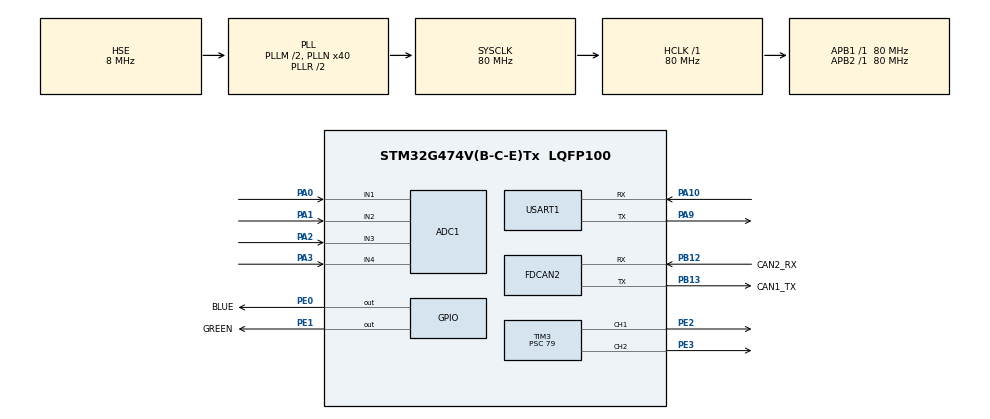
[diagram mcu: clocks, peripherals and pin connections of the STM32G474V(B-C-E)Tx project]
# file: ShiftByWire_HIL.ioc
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ADC1.Channel-1\#ChannelRegularConversion=ADC_CHANNEL_1
ADC1.Channel-5\#ChannelRegularConversion=ADC_CHANNEL_2
ADC1.Channel-6\#ChannelRegularConversion=ADC_CHANNEL_3
ADC1.Channel-7\#ChannelRegularConversion=ADC_CHANNEL_4
ADC1.ClockPrescaler=ADC_CLOCK_SYNC_PCLK_DIV4
ADC1.ContinuousConvMode=ENABLE
ADC1.DMAContinuousRequests=ENABLE
ADC1.NbrOfConversion=4
ADC1.NbrOfConversionFlag=1
ADC1.OffsetNumber-1\#ChannelRegularConversion=ADC_OFFSET_NONE
ADC1.OffsetNumber-5\#ChannelRegularConversion=ADC_OFFSET_NONE
ADC1.OffsetNumber-6\#ChannelRegularConversion=ADC_OFFSET_NONE
ADC1.OffsetNumber-7\#ChannelRegularConversion=ADC_OFFSET_NONE
ADC1.Rank-1\#ChannelRegularConversion=1
ADC1.Rank-5\#ChannelRegularConversion=2
ADC1.Rank-6\#ChannelRegularConversion=3
ADC1.Rank-7\#ChannelRegularConversion=4
ADC1.SamplingTime-1\#ChannelRegularConversion=ADC_SAMPLETIME_92CYCLES_5
ADC1.SamplingTime-5\#ChannelRegularConversion=ADC_SAMPLETIME_92CYCLES_5
ADC1.SamplingTime-6\#ChannelRegularConversion=ADC_SAMPLETIME_92CYCLES_5
ADC1.SamplingTime-7\#ChannelRegularConversion=ADC_SAMPLETIME_92CYCLES_5
ADC1.master=1
Dma.ADC1.0.Direction=DMA_PERIPH_TO_MEMORY
Dma.ADC1.0.EventEnable=DISABLE
Dma.ADC1.0.Instance=DMA1_Channel1
Dma.ADC1.0.MemDataAlignment=DMA_MDATAALIGN_HALFWORD
Dma.ADC1.0.MemInc=DMA_MINC_ENABLE
Dma.ADC1.0.Mode=DMA_CIRCULAR
Dma.ADC1.0.PeriphDataAlignment=DMA_PDATAALIGN_HALFWORD
Dma.ADC1.0.PeriphInc=DMA_PINC_DISABLE
Dma.ADC1.0.Polarity=HAL_DMAMUX_REQ_GEN_RISING
Dma.ADC1.0.Priority=DMA_PRIORITY_LOW
Dma.ADC1.0.RequestNumber=1
Dma.ADC1.0.SignalID=NONE
Dma.ADC1.0.SyncEnable=DISABLE
Dma.ADC1.0.SyncPolarity=HAL_DMAMUX_SYNC_NO_EVENT
Dma.ADC1.0.SyncRequestNumber=1
Dma.ADC1.0.SyncSignalID=NONE
Dma.Request0=ADC1
FDCAN2.CalculateBaudRateNominal=500000
FDCAN2.CalculateTimeBitNominal=2000
FDCAN2.CalculateTimeQuantumNominal=100.0
FDCAN2.DataPrescaler=8
FDCAN2.DataSyncJumpWidth=4
FDCAN2.DataTimeSeg1=15
FDCAN2.DataTimeSeg2=4
FDCAN2.ExtFiltersNbr=8
FDCAN2.NominalPrescaler=8
FDCAN2.NominalSyncJumpWidth=4
FDCAN2.NominalTimeSeg1=15
FDCAN2.NominalTimeSeg2=4
FDCAN2.StdFiltersNbr=8
FREERTOS.Tasks01=defaultTask,24,128,StartDefaultTask,Default,NULL,Dynamic,NULL,NULL
FREERTOS.configTOTAL_HEAP_SIZE=4096
IWDG.Prescaler=IWDG_PRESCALER_64
IWDG.Reload=3125
Mcu.Family=STM32G4
Mcu.Name=STM32G474V(B-C-E)Tx
Mcu.Package=LQFP100
NVIC.DMA1_Channel1_IRQn=true\:5\:0\:false\:false\:true\:true\:false\:true\:true
NVIC.FDCAN2_IT0_IRQn=true\:5\:0\:false\:false\:true\:true\:true\:true\:true
NVIC.PriorityGroup=NVIC_PRIORITYGROUP_4
NVIC.TIM2_IRQn=true\:15\:0\:false\:false\:true\:false\:false\:true\:true
NVIC.TimeBase=TIM2_IRQn
NVIC.TimeBaseIP=TIM2
PA0.Mode=IN1-Single-Ended
PA0.Signal=ADC1_IN1
PA1.Mode=IN2-Single-Ended
PA1.Signal=ADC1_IN2
PA10.Mode=Asynchronous
PA10.Signal=USART1_RX
PA13.Mode=Serial_Wire
PA13.Signal=SYS_JTMS-SWDIO
PA14.Mode=Serial_Wire
PA14.Signal=SYS_JTCK-SWCLK
PA2.Mode=IN3-Single-Ended
PA2.Signal=ADC1_IN3
PA3.Mode=IN4-Single-Ended
PA3.Signal=ADC1_IN4
PA9.Mode=Asynchronous
PA9.Signal=USART1_TX
PB12.GPIO_Label=CAN2_RX
PB12.GPIO_PuPd=GPIO_PULLUP
PB12.GPIO_Speed=GPIO_SPEED_FREQ_HIGH
PB12.Mode=FDCAN_Activate
PB12.Signal=FDCAN2_RX
PB13.GPIO_Label=CAN1_TX
PB13.GPIO_PuPd=GPIO_PULLUP
PB13.GPIO_Speed=GPIO_SPEED_FREQ_HIGH
PB13.Mode=FDCAN_Activate
PB13.Signal=FDCAN2_TX
PE0.GPIO_Label=BLUE
PE0.PinState=GPIO_PIN_SET
PE0.Signal=GPIO_Output
PE1.GPIO_Label=GREEN
PE1.PinState=GPIO_PIN_SET
PE1.Signal=GPIO_Output
PE2.Signal=S_TIM3_CH1
PE3.Signal=S_TIM3_CH2
PF0-OSC_IN.Mode=HSE-External-Oscillator
PF0-OSC_IN.Signal=RCC_OSC_IN
PF1-OSC_OUT.Mode=HSE-External-Oscillator
PF1-OSC_OUT.Signal=RCC_OSC_OUT
ProjectManager.HeapSize=0x1000
ProjectManager.StackSize=0x800
ProjectManager.TargetToolchain=MDK-ARM V5.32
RCC.ADC12Freq_Value=80000000
RCC.ADC345Freq_Value=80000000
RCC.AHBFreq_Value=80000000
RCC.APB1Freq_Value=80000000
RCC.APB1TimFreq_Value=80000000
RCC.APB2Freq_Value=80000000
RCC.APB2TimFreq_Value=80000000
RCC.CortexFreq_Value=80000000
RCC.EXTERNAL_CLOCK_VALUE=12288000
RCC.HCLKFreq_Value=80000000
RCC.HSE_VALUE=8000000
RCC.HSI48_VALUE=48000000
RCC.HSI_VALUE=16000000
RCC.LSE_VALUE=32768
RCC.PLLM=RCC_PLLM_DIV2
RCC.PLLN=40
RCC.PLLSourceVirtual=RCC_PLLSOURCE_HSE
RCC.SYSCLKFreq_VALUE=80000000
RCC.SYSCLKSource=RCC_SYSCLKSOURCE_PLLCLK
RCC.USBFreq_Value=80000000
RCC.VCOOutputFreq_Value=160000000
SH.S_TIM3_CH1.0=TIM3_CH1,PWM Generation1 CH1
SH.S_TIM3_CH2.0=TIM3_CH2,PWM Generation2 CH2
TIM3.AutoReloadPreload=TIM_AUTORELOAD_PRELOAD_ENABLE
TIM3.Channel-PWM\ Generation1\ CH1=TIM_CHANNEL_1
TIM3.Channel-PWM\ Generation2\ CH2=TIM_CHANNEL_2
TIM3.PeriodNoDither=19999
TIM3.Prescaler=79
TIM3.PulseNoDither_1=1500
USART1.VirtualMode-Asynchronous=VM_ASYNC
VP_FREERTOS_VS_CMSIS_V2.Mode=CMSIS_V2
VP_IWDG_VS_IWDG.Mode=IWDG_Activate
VP_SYS_VS_DBSignals.Mode=DisableDeadBatterySignals
VP_SYS_VS_tim2.Mode=TIM2
VP_TIM3_VS_ClockSourceINT.Mode=Internal
board=custom

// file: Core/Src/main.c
/* USER CODE BEGIN Header */
/**
  ******************************************************************************
  * @file           : main.c
  * @brief          : Main program body
  ******************************************************************************
  * @attention
  *
  * Copyright (c) 2026 STMicroelectronics.
  * All rights reserved.
  *
  * This software is licensed under terms that can be found in the LICENSE file
  * in the root directory of this software component.
  * If no LICENSE file comes with this software, it is provided AS-IS.
  *
  ******************************************************************************
  */
/* USER CODE END Header */
#include "main.h"
#include "cmsis_os.h"
#include "adc.h"
#include "dma.h"
#include "fdcan.h"
#include "iwdg.h"
#include "tim.h"
#include "usart.h"
#include "gpio.h"

/* USER CODE BEGIN PV */
volatile uint8_t g_target_gear = 2;     /* default N */
volatile uint8_t g_actual_gear = 2;
volatile uint8_t g_servo_angle = 90;
volatile uint8_t g_status = 0;
volatile uint32_t g_can_rx_tick = 0;
volatile uint8_t  g_vehicle_speed = 0;   /* 来自 0x180 B4：车速 km/h */
volatile uint8_t  g_shift_inhibit = 0;   /* 1 = 拒绝 P/R 指令（对端在行驶中重启过，锁定） */
volatile uint16_t g_adc_buffer[4];
/* USER CODE END PV */

void SystemClock_Config(void);
void MX_FREERTOS_Init(void);

int main(void)
{

  /* MCU Configuration--------------------------------------------------------*/

  /* Reset of all peripherals, Initializes the Flash interface and the Systick. */
  HAL_Init();

  /* Configure the system clock */
  SystemClock_Config();

  /* Initialize all configured peripherals */
  MX_GPIO_Init();
  MX_DMA_Init();
  MX_ADC1_Init();
  MX_IWDG_Init();
  MX_TIM3_Init();
  MX_USART1_UART_Init();
  MX_FDCAN2_Init();
  /* USER CODE BEGIN 2 */
  HAL_TIM_PWM_Start(&htim3, TIM_CHANNEL_1);   /* 舵机：TIM3_CH1 → PE2，50Hz */
  Motor_Init();                               /* 电机：先输出最小油门 1000us 再开 CH2，等电调解锁 */
  HAL_ADC_Start_DMA(&hadc1, (uint32_t *)g_adc_buffer, 4);
  /* USER CODE END 2 */

  /* Init scheduler */
  osKernelInitialize();  /* Call init function for freertos objects (in cmsis_os2.c) */
  MX_FREERTOS_Init();

  /* Start scheduler */
  osKernelStart();

  /* We should never get here as control is now taken by the scheduler */

  /* Infinite loop */
  while (1)
  {

  }
}

void SystemClock_Config(void)
{
  RCC_OscInitTypeDef RCC_OscInitStruct = {0};
  RCC_ClkInitTypeDef RCC_ClkInitStruct = {0};

  /** Configure the main internal regulator output voltage
  */
  HAL_PWREx_ControlVoltageScaling(PWR_REGULATOR_VOLTAGE_SCALE1);

  /** Initializes the RCC Oscillators according to the specified parameters
  * in the RCC_OscInitTypeDef structure.
  */
  RCC_OscInitStruct.OscillatorType = RCC_OSCILLATORTYPE_LSI|RCC_OSCILLATORTYPE_HSE;
  RCC_OscInitStruct.HSEState = RCC_HSE_ON;
  RCC_OscInitStruct.LSIState = RCC_LSI_ON;
  RCC_OscInitStruct.PLL.PLLState = RCC_PLL_ON;
  RCC_OscInitStruct.PLL.PLLSource = RCC_PLLSOURCE_HSE;
  RCC_OscInitStruct.PLL.PLLM = RCC_PLLM_DIV2;
  RCC_OscInitStruct.PLL.PLLN = 40;
  RCC_OscInitStruct.PLL.PLLP = RCC_PLLP_DIV2;
  RCC_OscInitStruct.PLL.PLLQ = RCC_PLLQ_DIV2;
  RCC_OscInitStruct.PLL.PLLR = RCC_PLLR_DIV2;
  if (HAL_RCC_OscConfig(&RCC_OscInitStruct) != HAL_OK)
  {
    Error_Handler();
  }

  /** Initializes the CPU, AHB and APB buses clocks
  */
  RCC_ClkInitStruct.ClockType = RCC_CLOCKTYPE_HCLK|RCC_CLOCKTYPE_SYSCLK
                              |RCC_CLOCKTYPE_PCLK1|RCC_CLOCKTYPE_PCLK2;
  RCC_ClkInitStruct.SYSCLKSource = RCC_SYSCLKSOURCE_PLLCLK;
  RCC_ClkInitStruct.AHBCLKDivider = RCC_SYSCLK_DIV1;
  RCC_ClkInitStruct.APB1CLKDivider = RCC_HCLK_DIV1;
  RCC_ClkInitStruct.APB2CLKDivider = RCC_HCLK_DIV1;

  if (HAL_RCC_ClockConfig(&RCC_ClkInitStruct, FLASH_LATENCY_2) != HAL_OK)
  {
    Error_Handler();
  }
}

void HAL_TIM_PeriodElapsedCallback(TIM_HandleTypeDef *htim)
{
  if (htim->Instance == TIM2)
  {
    HAL_IncTick();
  }
}

void Error_Handler(void)
{
  __disable_irq();
  while (1)
  {
  }
}

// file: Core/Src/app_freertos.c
/* USER CODE BEGIN Header */
/**
  ******************************************************************************
  * File Name          : app_freertos.c
  * Description        : 线控换挡执行侧 FreeRTOS 任务
  *                      0x180 收目标档 → 舵机摆到对应角度 → 0x280 回传实际档
  ******************************************************************************
  * @attention
  *
  * Copyright (c) 2026 STMicroelectronics.
  * All rights reserved.
  *
  * This software is licensed under terms that can be found in the LICENSE file
  * in the root directory of this software component.
  * If no LICENSE file comes with this software, it is provided AS-IS.
  *
  ******************************************************************************
  */
/* USER CODE END Header */

#include "FreeRTOS.h"
#include "task.h"
#include "main.h"
#include "cmsis_os.h"

/* USER CODE BEGIN Includes */
#include "fdcan.h"
#include "usart.h"
#include "tim.h"
#include "iwdg.h"
#include <stdio.h>
#include <string.h>
/* USER CODE END Includes */

/* USER CODE BEGIN PD */
/* ---- 舵机 ---- */
#define SERVO_TIM_CHANNEL       TIM_CHANNEL_1
#define SERVO_PULSE_MIN_US      ( 500U )    /* 0°   对应的脉宽 */

/* 舵机角度 → 档位 ---- */
#define SERVO_ANGLE_MAX_DEG     ( 180U )    /* 脉宽跨度对应的总角度 */
#define SERVO_ANGLE_P           (   0U )    /* P */
#define SERVO_ANGLE_R           (  36U )    /* R */
#define SERVO_ANGLE_N           (  72U )    /* N */
#define SERVO_ANGLE_D           ( 108U )    /* D / M1~M6 */

/* ---- CAN ---- */
#define CAN_ID_CMD_GEAR         ( 0x180U )  /* 收：目标档 */
#define CAN_ID_STATUS           ( 0x280U )  /* 发：实际档 + 状态 */

/* ---- 电机（好盈 20A 电调 + X2212 无刷）------------------------------------
 * 电调输入就是标准 RC PWM：周期 20ms（50Hz）、脉宽 1000~2000us。
 * TIM3 已是 PSC=79(1MHz) / ARR=19999(50Hz)，CCR 单位正好是 us，可直接写脉宽。
 * 注意：绝不能复用 ServoAngleToPulse()，那是 500~2500us 的舵机行程，
 *       500us 超出电调合法范围，部分型号会判为无效信号拒绝解锁。
 */
#define MOTOR_TIM_CHANNEL       TIM_CHANNEL_2
#define MOTOR_PULSE_MIN_US      (1000U)     /* 0%   油门 / 上电解锁脉宽 */
#define MOTOR_PULSE_MAX_US      (2000U)     /* 100% 油门 */
#define MOTOR_ARM_HOLD_MS       (3000U)     /* 上电保持在最小油门的时长，等电调解锁 */
#define MOTOR_TASK_PERIOD_MS    (  10U )
#define MOTOR_CMD_MAX_PCT       (  60U )    /* 台架限幅：0x180 的油门字节最多认到 60% */
#define MOTOR_OUT_RAMP_PCT      (   3U )    /* 输出斜坡：每 10ms 最多变 3% → 满油门 200ms 到位 */

/* ---------------- 电调排查开关（正常跑演示时全部保持 0） ----------------
 * MOTOR_CALIB_MODE : 上电先给满油门 5s 再回最小油门，跑一遍"油门行程校准"。
 *                    电调不是原厂默认行程时（换过遥控器/被编程过）用它。
 * MOTOR_TEST_MODE  : 不看 CAN、不看踏板，直接输出 MOTOR_TEST_PCT 的油门，
 *                    用来区分"命令链路问题"和"电调/接线问题"。
 * 注意：这两个模式都会让电机动，测试时必须拆桨！
 */
#define MOTOR_CALIB_MODE        (0U)
#define MOTOR_TEST_MODE         (0U)
#define MOTOR_TEST_PCT          (20U)

/* ---- 任务周期 ---- */
#define SERVO_TASK_PERIOD_MS    (  10U )
#define CAN_TX_PERIOD_MS        (  10U )
#define DEBUG_PERIOD_MS         ( 100U )
#define LED_PERIOD_MS           ( 1000U )

/* ---- 保护 ---- */
#define CAN_RX_TIMEOUT_MS       ( 500U )    /* 超过这么久没收到 0x180 判通信中断 */
#define GEAR_INVALID            ( 255U )    /* 无效档位/初值 */

/* ---- g_status 位定义 ---- */
#define STATUS_COMM_TIMEOUT     ( 0x01U )   /* bit0: 通信超时，执行侧 fail-safe */
#define STATUS_SHIFT_REFUSED    ( 0x02U )   /* bit1: 拒绝执行 P/R（对端行驶中重启过） */
#define STATUS_INVALID_CMD      ( 0x04U )   /* bit2: 收到的档位码非法（如 FAULT 时的 255），保持不动 */
#define STATUS_MOTOR_CUT        ( 0x08U )   /* bit3: 动力被软切（失联/FAULT），油门已归零并锁存 */
#define STATUS_GEAR_INHIBIT     ( 0x10U )   /* bit4: 当前挡位不给动力（P/N/R），油门请求被拒绝 */
#define STATUS_BRAKE_CUT        ( 0x20U )   /* bit5: 刹车优先，油门请求被切断 */

/* ---- 电机 ---- */
#define BRAKE_CUT_PCT           (  5U )     /* 刹车超过这个力度就断动力（留一点噪声余量） */

/* ---- 档位编码（与 S32K 侧一致）---- */
#define GEAR_P                  (  0U )
#define GEAR_R                  (  1U )
#define GEAR_N                  (  2U )
#define GEAR_D                  (  3U )
#define GEAR_M1                 ( 11U )
#define GEAR_M6                 ( 16U )
/* USER CODE END PD */

/* USER CODE BEGIN Variables */
extern volatile uint8_t  g_target_gear;
extern volatile uint8_t  g_actual_gear;
extern volatile uint8_t  g_servo_angle;
extern volatile uint8_t  g_status;
extern volatile uint32_t g_can_rx_tick;
extern volatile uint8_t  g_vehicle_speed;
extern volatile uint8_t  g_shift_inhibit;
extern volatile uint8_t  g_motor_cmd;             /* 0x180 的 B5：上层给的油门 % */
extern volatile uint8_t  g_brake_pct;             /* 0x180 的 B6：上层给的刹车 % */
volatile uint8_t         g_motor_throttle = 0U;   /* 0~100%，实际下发给电调的值 */

/* 电机解锁状态：最小油门持续够久才放行，防止电调上电进编程模式 */
static uint8_t           s_motorArmed  = 0U;
static uint32_t          s_motorArmCnt = 0U;
/* 上电安全：见过一次"油门=0"之后才允许往外送油门 */
static uint8_t           s_motorSawZero = 0U;
/* 软切：失联/FAULT 时锁存，踏板必须回到 0 才允许重新给油 */
static uint8_t           s_motorCutLatch = 0U;
/* 斜坡后的实际输出（0~100） */
static uint8_t           s_motorOutPct = 0U;
/* USER CODE END Variables */
/* Definitions for defaultTask */
osThreadId_t defaultTaskHandle;
const osThreadAttr_t defaultTask_attributes = {
  .name = "defaultTask",
  .priority = (osPriority_t) osPriorityNormal,
  .stack_size = 128 * 4
};

/* USER CODE BEGIN FunctionPrototypes */
void vTask_CAN_Tx(void *argument);
void vTask_Servo_Control(void *argument);
void vTask_Debug(void *argument);
void vTask_LED(void *argument);
static uint8_t  GearToAngle(uint8_t gear);
static uint8_t  IsValidGear(uint8_t gear);
void Motor_Init(void);
void Motor_SetThrottlePct(uint8_t pct);
static void Motor_ArmTick(void);
static uint16_t ServoAngleToPulse(uint8_t angleDeg);
/* USER CODE END FunctionPrototypes */

void StartDefaultTask(void *argument);

void MX_FREERTOS_Init(void); /* (MISRA C 2004 rule 8.1) */

void MX_FREERTOS_Init(void) {

  /* Create the thread(s) */
  /* creation of defaultTask */
  defaultTaskHandle = osThreadNew(StartDefaultTask, NULL, &defaultTask_attributes);

  /* USER CODE BEGIN RTOS_THREADS */
  osThreadNew(vTask_CAN_Tx, NULL, NULL);
  osThreadNew(vTask_Servo_Control, NULL, NULL);
  osThreadNew(vTask_Debug, NULL, NULL);
  osThreadNew(vTask_LED, NULL, NULL);
  /* USER CODE END RTOS_THREADS */

}

void StartDefaultTask(void *argument)
{
  /* USER CODE BEGIN StartDefaultTask */
  (void)argument;

  /* Infinite loop */
  for(;;)
  {
    osDelay(1);
  }
  /* USER CODE END StartDefaultTask */
}

/* USER CODE BEGIN Application */

/**
  * @brief  档位码是否合法
  * @note   合法 = P(0)/R(1)/N(2)/D(3)/M1~M6(11~16)。
  *         非法码（典型是 S32K 进 FAULT 时发的 255）必须区别对待：
  *         "收到非法码"不等于"要求去 N"，执行侧应当保持不动。
  */
static uint8_t IsValidGear(uint8_t gear)
{
  if ((gear <= 3U) || ((gear >= 11U) && (gear <= 16U)))
  {
    return 1U;
  }
  return 0U;
}

/**
  * @brief  档位码 → 舵机角度
  * @note   P=0° R=36° N=72° D=108°，M1~M6 与 D 共用 108°。
  *         非法码已由 IsValidGear() 提前拦掉，不会走到 default 分支；
  *         default 保留 N 只作最终兜底。
  */
static uint8_t GearToAngle(uint8_t gear)
{
  switch (gear)
  {
    case 0:  return SERVO_ANGLE_P;
    case 1:  return SERVO_ANGLE_R;
    case 2:  return SERVO_ANGLE_N;
    case 3:  return SERVO_ANGLE_D;
    case 11:
    case 12:
    case 13:
    case 14:
    case 15:
    case 16: return SERVO_ANGLE_D;
    default: return SERVO_ANGLE_N;
  }
}

/**
  * @brief  角度 → PWM 脉宽（µs）
  * @note   TIM3 已配成 50Hz、计数器时钟 1MHz，所以 CCR 的单位就是 µs：
  *         0° → 500µs，180° → 2500µs，线性插值。
  */
static uint16_t ServoAngleToPulse(uint8_t angleDeg)
{
  if (angleDeg > SERVO_ANGLE_MAX_DEG)
  {
    angleDeg = SERVO_ANGLE_MAX_DEG;
  }

  /* 跨度 = 2500 - 500 = 2000µs 对应 180° */
  return (uint16_t)(SERVO_PULSE_MIN_US
                    + ((uint32_t)angleDeg * 2000U) / SERVO_ANGLE_MAX_DEG);
}

/**
  * @brief  电机初始化：先把电调拉到最小油门再开通道
  * @note   必须在 osKernelStart() 之前调用。好盈电调上电时若收到高油门，
  *         会进入油门行程设定/编程模式，之后不认正常指令，所以开局必须是 1000µs。
  */
void Motor_Init(void)
{
#if (MOTOR_CALIB_MODE != 0U)
  /* 油门行程校准：满油门 → 电调长鸣确认最大行程 → 5s 后拉回最小油门 → 短鸣确认 */
  printf("[MOTOR] calibrating: MAX 2000us for 5s, then MIN 1000us\r\n");
  __HAL_TIM_SET_COMPARE(&htim3, MOTOR_TIM_CHANNEL, MOTOR_PULSE_MAX_US);
  HAL_TIM_PWM_Start(&htim3, MOTOR_TIM_CHANNEL);
  HAL_Delay(5000U);
  __HAL_TIM_SET_COMPARE(&htim3, MOTOR_TIM_CHANNEL, MOTOR_PULSE_MIN_US);
  HAL_Delay(1000U);
  printf("[MOTOR] calibration done, power-cycle the ESC\r\n");
  s_motorArmed  = 1U;      /* 两端都走过，直接解锁 */
  s_motorArmCnt = 0U;
#else
  __HAL_TIM_SET_COMPARE(&htim3, MOTOR_TIM_CHANNEL, MOTOR_PULSE_MIN_US);
  HAL_TIM_PWM_Start(&htim3, MOTOR_TIM_CHANNEL);
  s_motorArmed  = 0U;
  s_motorArmCnt = 0U;
#endif
}

/**
  * @brief  油门百分比(0~100) → 电调脉宽
  * @note   未解锁前一律输出最小脉宽，避免电调在半路被"惊到"。
  */
void Motor_SetThrottlePct(uint8_t pct)
{
  uint32_t pulse;
  uint32_t span = (uint32_t)(MOTOR_PULSE_MAX_US - MOTOR_PULSE_MIN_US);

  if (s_motorArmed == 0U)
  {
    pulse = MOTOR_PULSE_MIN_US;
  }
  else
  {
    if (pct > 100U)
    {
      pct = 100U;
    }
    pulse = (uint32_t)MOTOR_PULSE_MIN_US + ((uint32_t)pct * span) / 100U;
  }

  __HAL_TIM_SET_COMPARE(&htim3, MOTOR_TIM_CHANNEL, (uint16_t)pulse);
}

/**
  * @brief  解锁计时：最小油门持续 MOTOR_ARM_HOLD_MS 后放行油门
  * @note   每 MOTOR_TASK_PERIOD_MS 调一次（放在 10ms 的舵机任务里）。
  */
static void Motor_ArmTick(void)
{
  if (s_motorArmed != 0U)
  {
    return;
  }

  if (++s_motorArmCnt >= (MOTOR_ARM_HOLD_MS / MOTOR_TASK_PERIOD_MS))
  {
    s_motorArmed = 1U;
  }
}

/**
  * @brief  舵机任务：跟目标档，通信超时则保持原位（fail-safe）
  */
void vTask_Servo_Control(void *argument)
{
  /* 初值给无效档位，保证收到第一帧有效目标时一定会动一次 */
  uint8_t lastGear = GEAR_INVALID;

  (void)argument;

  /* 上电先把舵机推到 P 档，避免停在硬件默认角度 */
  g_servo_angle = GearToAngle(0U);
  __HAL_TIM_SET_COMPARE(&htim3, SERVO_TIM_CHANNEL, ServoAngleToPulse(g_servo_angle));
  g_actual_gear = 0U;

  for (;;)
  {
    /* 电机：先走解锁计时，再把上层油门变成电调脉宽 */
    Motor_ArmTick();
    /* 上电安全：必须先在总线上见过一次"油门=0"，才允许输出。
     * 否则踏板悬空/未校准时报个非零值，电机一上电就自己转起来。 */
    if (g_motor_cmd == 0U)
    {
      s_motorSawZero = 1U;
    }
    {
      uint8_t commLost = ((HAL_GetTick() - g_can_rx_tick) > CAN_RX_TIMEOUT_MS) ? 1U : 0U;
      uint8_t faultCmd = (g_target_gear == GEAR_INVALID) ? 1U : 0U;
      uint8_t target;

      /* 软切：通信丢失或进入 FAULT 时，目标油门立刻打成 0，输出按斜坡降下来。
       * 锁存后必须等踏板回到 0 才允许重新给油，避免"抖动一下又满油门"。
       * 对动力而言，"失联就保持"是危险的，和舵机的策略正好相反。 */
      if ((commLost != 0U) || (faultCmd != 0U))
      {
        s_motorCutLatch = 1U;
      }
      if ((s_motorCutLatch != 0U) && (g_motor_cmd == 0U))
      {
        s_motorCutLatch = 0U;
      }

#if (MOTOR_TEST_MODE != 0U)
      target = MOTOR_TEST_PCT;      /* 排查：不看 CAN，直接给固定油门（也跳过挡位门） */
#else
      target = ((s_motorSawZero != 0U) && (s_motorCutLatch == 0U)) ? g_motor_cmd : 0U;

      /* 挡位门：只有 D / M1~M6 才把踏板当驱动力。
       * P = 停驻、N = 空挡、R = 需要反转（台架电调单向做不到）→ 一律不给动力。
       * 用 g_actual_gear（舵机真正到位）而不是 target：还在往 D 转的过程中就加油，
       * 等于"没挂上挡就冲出去"。 */
      if ((g_actual_gear == GEAR_D) ||
          ((g_actual_gear >= GEAR_M1) && (g_actual_gear <= GEAR_M6)))
      {
        g_status = (uint8_t)(g_status & (uint8_t)(~STATUS_GEAR_INHIBIT));
      }
      else
      {
        g_status = (uint8_t)(g_status | STATUS_GEAR_INHIBIT);
        target   = 0U;
      }

      /* 刹车优先：刹车和油门同时踩下时，动力必须让位。
       * 真车也是这个规矩——刹车灯亮着还给动力，是最典型的" unintended acceleration "。
       * 不做锁存：松开刹车立刻恢复，不需要额外动作。 */
      if (g_brake_pct > BRAKE_CUT_PCT)
      {
        g_status = (uint8_t)(g_status | STATUS_BRAKE_CUT);
        target   = 0U;
      }
      else
      {
        g_status = (uint8_t)(g_status & (uint8_t)(~STATUS_BRAKE_CUT));
      }
#endif

      if (target > MOTOR_CMD_MAX_PCT)
      {
        target = MOTOR_CMD_MAX_PCT;   /* 台架限幅，别一推到底 */
      }

      /* 斜坡：每 MOTOR_TASK_PERIOD_MS 最多变 MOTOR_OUT_RAMP_PCT，上下都限速 */
      {
        uint8_t diff = (uint8_t)((s_motorOutPct < target)
                                 ? (target - s_motorOutPct)
                                 : (s_motorOutPct - target));

        if (diff > (uint8_t)MOTOR_OUT_RAMP_PCT)
        {
          diff = (uint8_t)MOTOR_OUT_RAMP_PCT;
        }

        if (s_motorOutPct < target)
        {
          s_motorOutPct = (uint8_t)(s_motorOutPct + diff);
        }
        else
        {
          s_motorOutPct = (uint8_t)(s_motorOutPct - diff);
        }
      }

      g_motor_throttle = s_motorOutPct;      /* 供串口打印，便于对照 */
      Motor_SetThrottlePct(s_motorOutPct);

      if (s_motorCutLatch != 0U)
      {
        g_status |= STATUS_MOTOR_CUT;
      }
      else
      {
        g_status &= (uint8_t)(~STATUS_MOTOR_CUT);
      }
    }
    /* 通信看门狗：超过 500ms 没收到 0x180 就置故障位 */
    if ((HAL_GetTick() - g_can_rx_tick) > CAN_RX_TIMEOUT_MS)
    {
      g_status |= STATUS_COMM_TIMEOUT;
    }
    else
    {
      g_status &= (uint8_t)(~STATUS_COMM_TIMEOUT);
    }

    /* 拒绝执行标志（锁存）：只要置位就一直上报，S32K 侧屏幕显示 EXEC LOCK */
    if (g_shift_inhibit != 0U)
    {
      g_status |= STATUS_SHIFT_REFUSED;
    }
    else
    {
      g_status &= (uint8_t)(~STATUS_SHIFT_REFUSED);
    }

    /* 非法指令标志：每圈先清，收到非法码的那一圈才点亮 */
    g_status &= (uint8_t)(~STATUS_INVALID_CMD);

    /* 只在通信正常时响应新目标；超时期间保持当前角度 */
    if ((g_target_gear != lastGear) && ((g_status & STATUS_COMM_TIMEOUT) == 0U))
    {
      if (IsValidGear(g_target_gear) == 0U)
      {
        /*
         * 非法档位码（典型：S32K 进 FAULT 时发的 255）。
         * 关键语义：收到非法码 ≠ "要求换到 N"，而是"这条指令不可解释"。
         * 执行侧应保持当前角度、只上报，绝不能自己动。
         */
        g_status |= STATUS_INVALID_CMD;
      }
      else if ((((g_target_gear == 0U) || (g_target_gear == 1U)) &&
                ((g_shift_inhibit != 0U) ||
                 (g_vehicle_speed > SPEED_STANDSTILL_KMH))) ||
               ((g_target_gear == 0U) && (g_brake_pct < PARK_BRAKE_MIN_PCT)))
      {
        /*
         * P/R 的拦截条件，任一成立就不执行、保持当前角度：
         *   ① g_shift_inhibit：对端在行驶中重启过，它发的 P/R 不可信
         *   ② 车速 > 5km/h：车还在动就不许挂 P（驻车锁会打齿）、不许挂 R
         *      —— 这一条不依赖对端是否正确，执行侧自己就能判
         *   ③ 挂 P 但刹车 < 30%：没踩住就挂 P，车会溜
         * 注意这里是"拒绝换挡"，不是"切动力"：让车继续按原挡位跑，
         * 比强行挂 P 安全得多。
         */
      }
      else
      {
        lastGear      = g_target_gear;
        g_servo_angle = GearToAngle(lastGear);
        __HAL_TIM_SET_COMPARE(&htim3, SERVO_TIM_CHANNEL, ServoAngleToPulse(g_servo_angle));
        g_actual_gear = lastGear;
      }
    }

    osDelay(SERVO_TASK_PERIOD_MS);
  }
}

/**
  * @brief  CAN 发送任务：10ms 一帧 0x280，顺带喂看门狗
  * @note   B0=实际档 B1=舵机角度 B2=状态 B3=生命计数
  */
void vTask_CAN_Tx(void *argument)
{
  FDCAN_TxHeaderTypeDef TxHeader = {0};
  uint8_t TxData[8];
  uint8_t lifeCounter = 0;

  (void)argument;

  TxHeader.Identifier           = CAN_ID_STATUS;
  TxHeader.IdType               = FDCAN_STANDARD_ID;
  TxHeader.TxFrameType          = FDCAN_DATA_FRAME;
  TxHeader.DataLength           = FDCAN_DLC_BYTES_8;
  TxHeader.ErrorStateIndicator  = FDCAN_ESI_ACTIVE;
  TxHeader.BitRateSwitch        = FDCAN_BRS_OFF;
  TxHeader.FDFormat             = FDCAN_CLASSIC_CAN;
  TxHeader.TxEventFifoControl   = FDCAN_NO_TX_EVENTS;
  TxHeader.MessageMarker        = 0;

  memset(TxData, 0, sizeof(TxData));

  for (;;)
  {
    TxData[0] = g_actual_gear;
    TxData[1] = g_servo_angle;
    TxData[2] = g_status;
    TxData[3] = lifeCounter++;

    /* 发送失败不做重试：10ms 后自然会有下一帧 */
    (void)HAL_FDCAN_AddMessageToTxFifoQ(&hfdcan2, &TxHeader, TxData);

    HAL_IWDG_Refresh(&hiwdg);

    osDelay(CAN_TX_PERIOD_MS);
  }
}

/**
  * @brief  调试串口打印（USART1，115200）
  */
void vTask_Debug(void *argument)
{
  (void)argument;

  for (;;)
  {
    printf("Target:%d Actual:%d Angle:%d Status:%d Spd:%d Inh:%d Cmd:%d Brk:%d Mot:%d BO:%d\r\n",
           g_target_gear, g_actual_gear, g_servo_angle, g_status,
           g_vehicle_speed, g_shift_inhibit, g_motor_cmd, g_brake_pct,
           g_motor_throttle, (int)g_can_busoff_cnt);
    osDelay(DEBUG_PERIOD_MS);
  }
}

/**
  * @brief  板载蓝灯心跳
  */
void vTask_LED(void *argument)
{
  (void)argument;

  for (;;)
  {
    HAL_GPIO_TogglePin(BLUE_GPIO_Port, BLUE_Pin);
    osDelay(LED_PERIOD_MS);
  }
}
/* USER CODE END Application */
